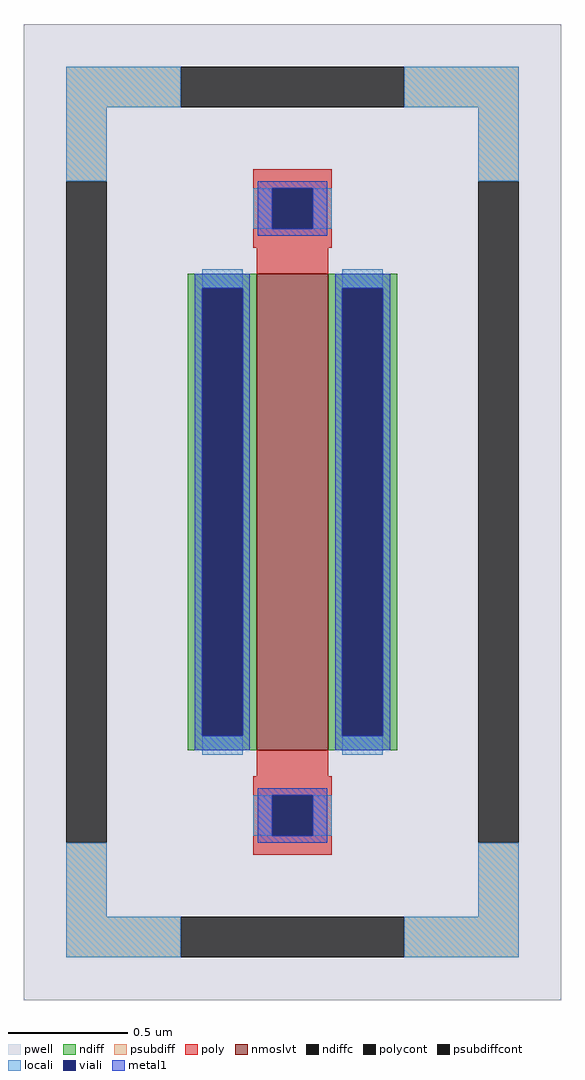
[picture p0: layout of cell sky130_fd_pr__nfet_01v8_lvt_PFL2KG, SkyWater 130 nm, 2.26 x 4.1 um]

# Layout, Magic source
magic
tech sky130B
magscale 1 2
<< pwell >>
rect -226 -410 226 410
<< nmoslvt >>
rect -30 -200 30 200
<< ndiff >>
rect -88 188 -30 200
rect -88 -188 -76 188
rect -42 -188 -30 188
rect -88 -200 -30 -188
rect 30 188 88 200
rect 30 -188 42 188
rect 76 -188 88 188
rect 30 -200 88 -188
<< ndiffc >>
rect -76 -188 -42 188
rect 42 -188 76 188
<< psubdiff >>
rect -190 340 -94 374
rect 94 340 190 374
rect -190 278 -156 340
rect 156 278 190 340
rect -190 -340 -156 -278
rect 156 -340 190 -278
rect -190 -374 -94 -340
rect 94 -374 190 -340
<< psubdiffcont >>
rect -94 340 94 374
rect -190 -278 -156 278
rect 156 -278 190 278
rect -94 -374 94 -340
<< poly >>
rect -33 272 33 288
rect -33 238 -17 272
rect 17 238 33 272
rect -33 222 33 238
rect -30 200 30 222
rect -30 -222 30 -200
rect -33 -238 33 -222
rect -33 -272 -17 -238
rect 17 -272 33 -238
rect -33 -288 33 -272
<< polycont >>
rect -17 238 17 272
rect -17 -272 17 -238
<< locali >>
rect -190 340 -94 374
rect 94 340 190 374
rect -190 278 -156 340
rect 156 278 190 340
rect -33 238 -17 272
rect 17 238 33 272
rect -76 188 -42 204
rect -76 -204 -42 -188
rect 42 188 76 204
rect 42 -204 76 -188
rect -33 -272 -17 -238
rect 17 -272 33 -238
rect -190 -340 -156 -278
rect 156 -340 190 -278
rect -190 -374 -94 -340
rect 94 -374 190 -340
<< viali >>
rect -17 238 17 272
rect -76 -188 -42 188
rect 42 -188 76 188
rect -17 -272 17 -238
<< metal1 >>
rect -29 272 29 278
rect -29 238 -17 272
rect 17 238 29 272
rect -29 232 29 238
rect -82 188 -36 200
rect -82 -188 -76 188
rect -42 -188 -36 188
rect -82 -200 -36 -188
rect 36 188 82 200
rect 36 -188 42 188
rect 76 -188 82 188
rect 36 -200 82 -188
rect -29 -238 29 -232
rect -29 -272 -17 -238
rect 17 -272 29 -238
rect -29 -278 29 -272
<< properties >>
string FIXED_BBOX -173 -357 173 357
string gencell sky130_fd_pr__nfet_01v8_lvt
string library sky130
string parameters w 2 l 0.3 m 1 nf 1 diffcov 100 polycov 100 guard 1 glc 1 grc 1 gtc 1 gbc 1 tbcov 100 rlcov 100 topc 1 botc 1 poverlap 0 doverlap 1 lmin 0.15 wmin 0.42 compatible {sky130_fd_pr__nfet_01v8 sky130_fd_pr__nfet_01v8_lvt  sky130_fd_bs_flash__special_sonosfet_star  sky130_fd_pr__nfet_g5v0d10v5 sky130_fd_pr__nfet_05v0_nvt  sky130_fd_pr__nfet_03v3_nvt} full_metal 1 viasrc 100 viadrn 100 viagate 100 viagb 0 viagr 0 viagl 0 viagt 0
<< end >>
